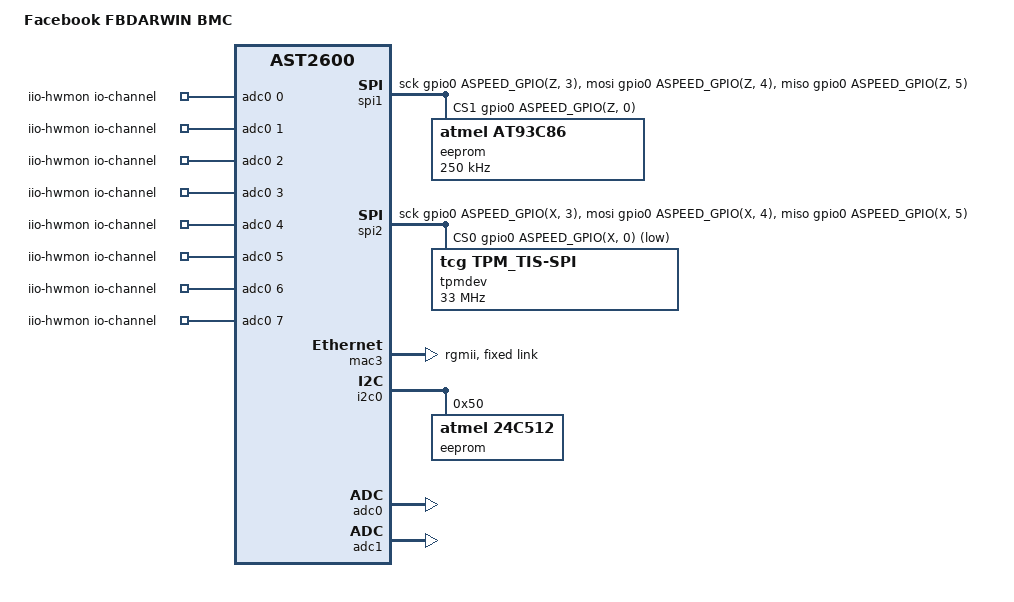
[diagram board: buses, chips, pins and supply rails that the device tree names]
// SPDX-License-Identifier: GPL-2.0+
// Copyright (c) 2021 Facebook Inc.

/dts-v1/;

#include "ast2600-facebook-netbmc-common.dtsi"

/ {
	model = "Facebook FBDARWIN BMC";
	compatible = "facebook,fbdarwin-bmc", "aspeed,ast2600";

	aliases {
		serial0 = &uart5;
		serial1 = &uart1;
		serial2 = &uart2;
		serial3 = &uart3;
		spi1 = &spi1;
		spi2 = &spi2;
	};


	chosen {
		stdout-path = &uart5;
	};

        iio-hwmon {
                compatible = "iio-hwmon";
                io-channels = <&adc0 0>, <&adc0 1>, <&adc0 2>, <&adc0 3>,
                                <&adc0 4>, <&adc0 5>, <&adc0 6>, <&adc0 7>,
                                <&adc1 0>, <&adc1 1>, <&adc1 2>, <&adc1 3>,
                                <&adc1 4>, <&adc1 5>, <&adc1 6>, <&adc1 7>;
        };
};

&spi1 {
	status = "okay";
	compatible = "spi-gpio";
	#address-cells = <1>;
	#size-cells = <0>;
	num-chipselects = <2>;

	gpio-sck = <&gpio0 ASPEED_GPIO(Z, 3) GPIO_ACTIVE_HIGH>;
	gpio-mosi = <&gpio0 ASPEED_GPIO(Z, 4) GPIO_ACTIVE_HIGH>;
	gpio-miso = <&gpio0 ASPEED_GPIO(Z, 5) GPIO_ACTIVE_HIGH>;
	cs-gpios = <0>,
		   <&gpio0 ASPEED_GPIO(Z, 0) GPIO_ACTIVE_HIGH>;

	eeprom@1 {
		compatible = "atmel,at93c86";
		spi-max-frequency = <250000>;
		data-size = <16>;
		spi-cs-high;
		reg = <1>;
	};
};

&spi2 {
	status = "okay";
	compatible = "spi-gpio";
	#address-cells = <1>;
	#size-cells = <0>;
	num-chipselects = <1>;

	gpio-miso = <&gpio0 ASPEED_GPIO(X, 5) GPIO_ACTIVE_HIGH>;
	gpio-mosi = <&gpio0 ASPEED_GPIO(X, 4) GPIO_ACTIVE_HIGH>;
	gpio-sck = <&gpio0 ASPEED_GPIO(X, 3) GPIO_ACTIVE_HIGH>;
	cs-gpios = <&gpio0 ASPEED_GPIO(X, 0) GPIO_ACTIVE_LOW>;

	tpmdev@0 {
		compatible = "tcg,tpm_tis-spi";
		spi-max-frequency = <33000000>;
		reg = <0>;
	};
};

&mac3 {
	status = "okay";
	phy-mode = "rgmii";
	pinctrl-names = "default";
	pinctrl-0 = <&pinctrl_rgmii4_default>;
	fixed-link {
		speed = <1000>;
		full-duplex;
	};
};

&i2c0 {
	eeprom@50 {
		compatible = "atmel,24c512";
		reg = <0x50>;
	};
};

&adc0 {
        ref_voltage = <2500>;
        status = "okay";

        pinctrl-0 = <&pinctrl_adc0_default &pinctrl_adc1_default
                &pinctrl_adc2_default &pinctrl_adc3_default
                &pinctrl_adc4_default &pinctrl_adc5_default
                &pinctrl_adc6_default &pinctrl_adc7_default>;
};

&adc1 {
        ref_voltage = <2500>;
        status = "okay";

        pinctrl-0 = <&pinctrl_adc8_default &pinctrl_adc9_default
                &pinctrl_adc10_default &pinctrl_adc11_default
                &pinctrl_adc12_default &pinctrl_adc13_default
                &pinctrl_adc14_default &pinctrl_adc15_default>;
};
